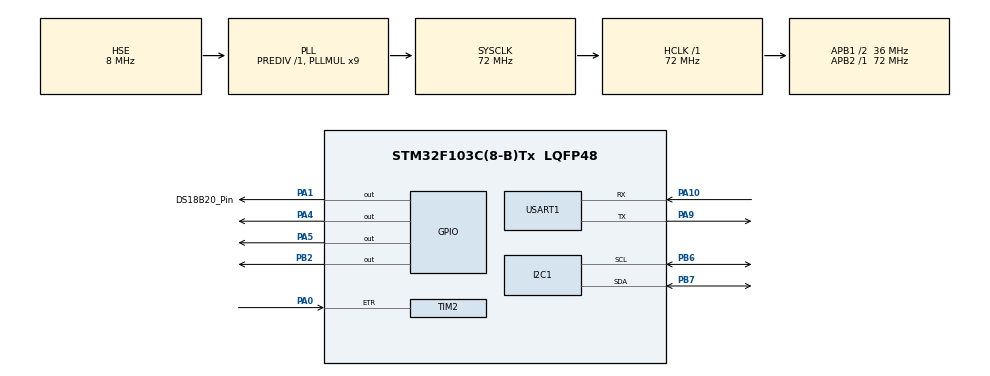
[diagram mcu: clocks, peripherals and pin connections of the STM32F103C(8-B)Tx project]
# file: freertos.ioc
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Dma.Request0=USART1_TX
Dma.Request1=USART1_RX
Dma.USART1_RX.1.Direction=DMA_PERIPH_TO_MEMORY
Dma.USART1_RX.1.Instance=DMA1_Channel5
Dma.USART1_RX.1.MemDataAlignment=DMA_MDATAALIGN_BYTE
Dma.USART1_RX.1.MemInc=DMA_MINC_ENABLE
Dma.USART1_RX.1.Mode=DMA_NORMAL
Dma.USART1_RX.1.PeriphDataAlignment=DMA_PDATAALIGN_BYTE
Dma.USART1_RX.1.PeriphInc=DMA_PINC_DISABLE
Dma.USART1_RX.1.Priority=DMA_PRIORITY_HIGH
Dma.USART1_TX.0.Direction=DMA_MEMORY_TO_PERIPH
Dma.USART1_TX.0.Instance=DMA1_Channel4
Dma.USART1_TX.0.MemDataAlignment=DMA_MDATAALIGN_BYTE
Dma.USART1_TX.0.MemInc=DMA_MINC_ENABLE
Dma.USART1_TX.0.Mode=DMA_NORMAL
Dma.USART1_TX.0.PeriphDataAlignment=DMA_PDATAALIGN_BYTE
Dma.USART1_TX.0.PeriphInc=DMA_PINC_DISABLE
Dma.USART1_TX.0.Priority=DMA_PRIORITY_HIGH
FREERTOS.Tasks01=task1,24,128,task1function,Default,NULL,Dynamic,NULL,NULL;task2,24,128,task2function,Default,NULL,Dynamic,NULL,NULL;task3,24,128,StartTask03,Default,NULL,Dynamic,NULL,NULL
FREERTOS.configUSE_PREEMPTION=1
Mcu.Family=STM32F1
Mcu.Name=STM32F103C(8-B)Tx
Mcu.Package=LQFP48
NVIC.DMA1_Channel4_IRQn=true\:5\:0\:false\:false\:true\:true\:false\:true\:true
NVIC.DMA1_Channel5_IRQn=true\:5\:0\:false\:false\:true\:true\:false\:true\:true
NVIC.PriorityGroup=NVIC_PRIORITYGROUP_4
NVIC.TIM3_IRQn=true\:15\:0\:false\:false\:true\:false\:false\:true\:true
NVIC.TimeBase=TIM3_IRQn
NVIC.TimeBaseIP=TIM3
NVIC.USART1_IRQn=true\:5\:0\:false\:false\:true\:true\:true\:true\:true
PA0-WKUP.Signal=S_TIM2_CH1_ETR
PA1.GPIO_Label=DS18B20_Pin
PA1.Signal=GPIO_Output
PA10.Mode=Asynchronous
PA10.Signal=USART1_RX
PA13.Mode=Serial_Wire
PA13.Signal=SYS_JTMS-SWDIO
PA14.Mode=Serial_Wire
PA14.Signal=SYS_JTCK-SWCLK
PA4.Signal=GPIO_Output
PA5.Signal=GPIO_Output
PA9.Mode=Asynchronous
PA9.Signal=USART1_TX
PB2.Signal=GPIO_Output
PB6.Mode=I2C
PB6.Signal=I2C1_SCL
PB7.Mode=I2C
PB7.Signal=I2C1_SDA
PD0-OSC_IN.Mode=HSE-External-Oscillator
PD0-OSC_IN.Signal=RCC_OSC_IN
PD1-OSC_OUT.Mode=HSE-External-Oscillator
PD1-OSC_OUT.Signal=RCC_OSC_OUT
ProjectManager.HeapSize=0x200
ProjectManager.StackSize=0x400
ProjectManager.TargetToolchain=STM32CubeIDE
RCC.AHBFreq_Value=72000000
RCC.APB1CLKDivider=RCC_HCLK_DIV2
RCC.APB1Freq_Value=36000000
RCC.APB1TimFreq_Value=72000000
RCC.APB2Freq_Value=72000000
RCC.APB2TimFreq_Value=72000000
RCC.HCLKFreq_Value=72000000
RCC.PLLMUL=RCC_PLL_MUL9
RCC.PLLSourceVirtual=RCC_PLLSOURCE_HSE
RCC.SYSCLKFreq_VALUE=72000000
RCC.SYSCLKSource=RCC_SYSCLKSOURCE_PLLCLK
RCC.USBFreq_Value=72000000
SH.S_TIM2_CH1_ETR.0=TIM2_ETR,ClockSourceETR_Mode2
TIM1.Period=65535
TIM1.Prescaler=63
USART1.VirtualMode=VM_ASYNC
VP_FREERTOS_VS_CMSIS_V2.Mode=CMSIS_V2
VP_SYS_VS_tim3.Mode=TIM3
VP_TIM1_VS_ClockSourceINT.Mode=Internal
board=custom

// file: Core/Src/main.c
/* USER CODE BEGIN Header */
/**
  ******************************************************************************
  * @file           : main.c
  * @brief          : Main program body
  ******************************************************************************
  * @attention
  *
  * Copyright (c) 2024 STMicroelectronics.
  * All rights reserved.
  *
  * This software is licensed under terms that can be found in the LICENSE file
  * in the root directory of this software component.
  * If no LICENSE file comes with this software, it is provided AS-IS.
  *
  ******************************************************************************
  */
/* USER CODE END Header */
#include "main.h"
#include "cmsis_os.h"
#include "dma.h"
#include "i2c.h"
#include "tim.h"
#include "usart.h"
#include "gpio.h"

/* USER CODE BEGIN Includes */
#include "TM1637.h"
#include "ds18b20.h"
#include "stdio.h"
#include "UartRingbuffer.h"
/* USER CODE END Includes */

/* USER CODE BEGIN PTD */
uint8_t data[20] = "\nbo cua uart";
char receivedMessage[6];
extern float temperature;

/* USER CODE END PTD */

void SystemClock_Config(void);
void MX_FREERTOS_Init(void);

/* USER CODE BEGIN 0 */
uint8_t	Timer1Enable = ENABLE;
uint32_t Timer1  = 0;
uint8_t CurrentDisplay[4] = {0};
uint8_t tm1637_Segments[8] = {0};
extern uartRxBuffer[];

void HAL_UART_RxCpltCallback(UART_HandleTypeDef *huart){
	if(huart->Instance == USART1)
		HAL_UART_Transmit(&huart1, (uint8_t *)"okelahhh\r\n", 8 , 100);
	HAL_UART_Receive_IT(&huart1, receivedMessage, 6);
}
/* USER CODE END 0 */

int main(void)
{
  /* USER CODE BEGIN 1 */
    //DP is connected to the second digit MSB
  tm1637_Segments[0] = A_SEG;
  tm1637_Segments[1] = B_SEG;
  tm1637_Segments[2] = C_SEG;
  tm1637_Segments[3] = D_SEG;
  tm1637_Segments[4] = E_SEG;
  tm1637_Segments[5] = F_SEG;
  tm1637_Segments[6] = G_SEG;
  tm1637_Segments[7] = DP_SEG;
  /* USER CODE END 1 */

  /* MCU Configuration--------------------------------------------------------*/

  /* Reset of all peripherals, Initializes the Flash interface and the Systick. */
  HAL_Init();

  /* Configure the system clock */
  SystemClock_Config();

  /* Initialize all configured peripherals */
  MX_GPIO_Init();
  MX_DMA_Init();
  MX_USART1_UART_Init();
  MX_TIM2_Init();
  MX_TIM1_Init();
  MX_I2C1_Init();
  /* USER CODE BEGIN 2 */
  DS18B20_Init(DS18B20_Resolution_12bits);
  HAL_UART_Receive_IT(&huart1, receivedMessage, 6);
  HAL_TIM_Base_Start_IT(&htim2);
  HAL_GPIO_WritePin(GPIOB, GPIO_PIN_2, 0);
  HAL_GPIO_WritePin(GPIOA, GPIO_PIN_4, GPIO_PIN_SET);
  HAL_GPIO_WritePin(GPIOA, GPIO_PIN_5, GPIO_PIN_SET);

  /* USER CODE END 2 */

  /* Init scheduler */
  osKernelInitialize();  /* Call init function for freertos objects (in freertos.c) */
  MX_FREERTOS_Init();

  /* Start scheduler */
  osKernelStart();

  /* We should never get here as control is now taken by the scheduler */
  /* Infinite loop */
  while (1)
  {

  }
}

void SystemClock_Config(void)
{
  RCC_OscInitTypeDef RCC_OscInitStruct = {0};
  RCC_ClkInitTypeDef RCC_ClkInitStruct = {0};

  /** Initializes the RCC Oscillators according to the specified parameters
  * in the RCC_OscInitTypeDef structure.
  */
  RCC_OscInitStruct.OscillatorType = RCC_OSCILLATORTYPE_HSE;
  RCC_OscInitStruct.HSEState = RCC_HSE_ON;
  RCC_OscInitStruct.HSEPredivValue = RCC_HSE_PREDIV_DIV1;
  RCC_OscInitStruct.HSIState = RCC_HSI_ON;
  RCC_OscInitStruct.PLL.PLLState = RCC_PLL_ON;
  RCC_OscInitStruct.PLL.PLLSource = RCC_PLLSOURCE_HSE;
  RCC_OscInitStruct.PLL.PLLMUL = RCC_PLL_MUL9;
  if (HAL_RCC_OscConfig(&RCC_OscInitStruct) != HAL_OK)
  {
    Error_Handler();
  }

  /** Initializes the CPU, AHB and APB buses clocks
  */
  RCC_ClkInitStruct.ClockType = RCC_CLOCKTYPE_HCLK|RCC_CLOCKTYPE_SYSCLK
                              |RCC_CLOCKTYPE_PCLK1|RCC_CLOCKTYPE_PCLK2;
  RCC_ClkInitStruct.SYSCLKSource = RCC_SYSCLKSOURCE_PLLCLK;
  RCC_ClkInitStruct.AHBCLKDivider = RCC_SYSCLK_DIV1;
  RCC_ClkInitStruct.APB1CLKDivider = RCC_HCLK_DIV2;
  RCC_ClkInitStruct.APB2CLKDivider = RCC_HCLK_DIV1;

  if (HAL_RCC_ClockConfig(&RCC_ClkInitStruct, FLASH_LATENCY_2) != HAL_OK)
  {
    Error_Handler();
  }
}

void HAL_TIM_PeriodElapsedCallback(TIM_HandleTypeDef *htim)
{
  if (htim->Instance == TIM3) {
    HAL_IncTick();
  }
}

void Error_Handler(void)
{
  __disable_irq();
  while (1)
  {
  }
}

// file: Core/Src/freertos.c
/* USER CODE BEGIN Header */
/**
  ******************************************************************************
  * File Name          : freertos.c
  * Description        : Code for freertos applications
  ******************************************************************************
  * @attention
  *
  * Copyright (c) 2024 STMicroelectronics.
  * All rights reserved.
  *
  * This software is licensed under terms that can be found in the LICENSE file
  * in the root directory of this software component.
  * If no LICENSE file comes with this software, it is provided AS-IS.
  *
  ******************************************************************************
  */
/* USER CODE END Header */

#include "FreeRTOS.h"
#include "task.h"
#include "main.h"
#include "cmsis_os.h"

/* USER CODE BEGIN Includes */
#include "stdio.h"
#include "ds18b20.h"
#include "TM1637.h"
#include "usart.h"
#include "gpio.h"
#include "string.h"
#include "UartRingbuffer.h"
/* USER CODE END Includes */

/* USER CODE BEGIN PTD */
  uint8_t temperature ;
  uint8_t logString[] = "to lam duoc";
  uint8_t displayData[4] = {0};
  uint8_t messageLength = 0;
  extern char receivedMessage[6];
  uint8_t receivedData;
  int i = 0;
  int condition = 1;
  char string[64];
  char message[6] = "ledddd";
  char message2[] = "stop";
  uint8_t uartRxBuffer[50];
  char logMessage[] = "start?\n";
  extern Ds18b20Sensor_t ds18b20[_DS18B20_MAX_SENSORS];
  char receivedString[4];
/* USER CODE END PTD */

/* Definitions for task1 */
osThreadId_t task1Handle;
const osThreadAttr_t task1_attributes = {
  .name = "task1",
  .stack_size = 128 * 4,
  .priority = (osPriority_t) osPriorityNormal,
};
/* Definitions for task2 */
osThreadId_t task2Handle;
const osThreadAttr_t task2_attributes = {
  .name = "task2",
  .stack_size = 128 * 4,
  .priority = (osPriority_t) osPriorityNormal,
};
/* Definitions for task3 */
osThreadId_t task3Handle;
const osThreadAttr_t task3_attributes = {
  .name = "task3",
  .stack_size = 128 * 4,
  .priority = (osPriority_t) osPriorityNormal,
};

void task1function(void *argument);
void task2function(void *argument);
void StartTask03(void *argument);

void MX_FREERTOS_Init(void); /* (MISRA C 2004 rule 8.1) */

void MX_FREERTOS_Init(void) {

  /* Create the thread(s) */
  /* creation of task1 */
  task1Handle = osThreadNew(task1function, NULL, &task1_attributes);

  /* creation of task2 */
  task2Handle = osThreadNew(task2function, NULL, &task2_attributes);

  /* creation of task3 */
  task3Handle = osThreadNew(StartTask03, NULL, &task3_attributes);

}

void task1function(void *argument)
{
  /* USER CODE BEGIN task1function */

  /* Infinite loop */
 for (;;) {
    HAL_UART_Transmit(&huart1, (uint8_t *)"okelahhh\r\n", 8 , 100);

    if(receivedMessage[0] == 'l'){
      HAL_GPIO_TogglePin(GPIOB, GPIO_PIN_2);
        osDelay(1000);
    }
    osDelay(1000);

    // So sánh chuỗi và phát Semaphore nếu chuỗi bằng với một giá trị mong muốn
//    if ( Wait_for(message)) {
        //osSemaphoreRelease(SemaHandle);;
//    }
}
      osDelay(1000);
}

  /* USER CODE END task1function */

void task2function(void *argument)
{
  /* USER CODE BEGIN task2function */
  /* Infinite loop */
	//HAL_UART_Transmit(&huart1, (uint8_t *)logMessage, 8 , 100);
//  extern UART_HandleTypeDef huart1;
  for(;;)
  {
      DS18B20_ReadAll();
      DS18B20_StartAll();

  }
  osDelay(100);
  /* USER CODE END task2function */
}

void StartTask03(void *argument)
{
  /* USER CODE BEGIN StartTask03 */
	//HAL_UART_Transmit(&huart1, (uint8_t *)logMessage, 8 , 100);
  /* Infinite loop */
   for(;;)
  {
      temperature = ds18b20[0].Temperature;
      sprintf(string, "%d C\n",temperature);
      HAL_UART_Transmit(&huart1, (uint8_t *)string, sizeof(string), 100);
      tm1637_DisplayInteger(temperature);
      osDelay(1000);
   }
   osDelay(1000);
}
  /* USER CODE END StartTask03 */
